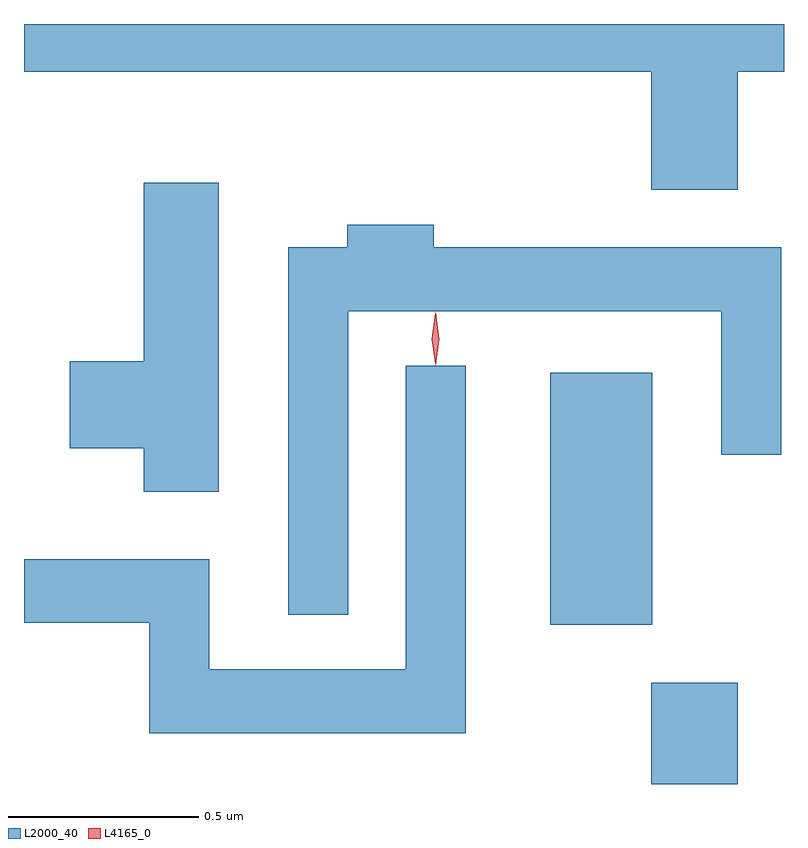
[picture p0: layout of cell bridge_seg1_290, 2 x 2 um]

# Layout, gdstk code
import gdstk
lib = gdstk.Library(unit=1e-6, precision=1e-09)
def R(c, l, rs):  # rectangles x0, y0, x1, y1
    for r in rs: c.add(gdstk.rectangle(r[:2], r[2:], *l))
def P(c, l, *ps):  # polygons
    for p in ps: c.add(gdstk.Polygon(p, *l))
L2000_40 = (2000, 40)
L4165_0 = (4165, 0)

bridge_seg1_290 = lib.new_cell('bridge_seg1_290')
R(bridge_seg1_290, L2000_40, [(870.051,902.142,870.279,902.409), (869.786,902.561,870.054,903.224)])
P(bridge_seg1_290, L2000_40, [(870.279,904.016),(870.401,904.016),(870.401,904.142),(868.401,904.142),(868.401,904.016),(870.051,904.016),(870.051,903.706),(870.279,903.706)],
  [(868.914,903.724),(868.716,903.724),(868.716,903.254),(868.521,903.254),(868.521,903.026),(868.716,903.026),(868.716,902.911),(868.914,902.911)],
  [(869.254,903.386),(870.236,903.386),(870.236,903.008),(870.394,903.008),(870.394,903.554),(869.479,903.554),(869.479,903.614),(869.251,903.614),(869.251,903.554),(869.096,903.554),(869.096,902.588),(869.254,902.588)],
  [(869.564,903.243),(869.406,903.243),(869.406,902.444),(868.889,902.444),(868.889,902.734),(868.401,902.734),(868.401,902.566),(868.731,902.566),(868.731,902.276),(869.564,902.276)])
P(bridge_seg1_290, L4165_0, [(869.484,903.244),(869.484,903.244),(869.474,903.313),(869.484,903.383),(869.484,903.383),(869.485,903.383),(869.494,903.313),(869.485,903.244)],
  [(869.484,903.247),(869.483,903.248),(869.474,903.314),(869.483,903.38),(869.483,903.38),(869.484,903.38),(869.493,903.314),(869.484,903.248)])

lib.write_gds('bridge_seg1_290.gds')
